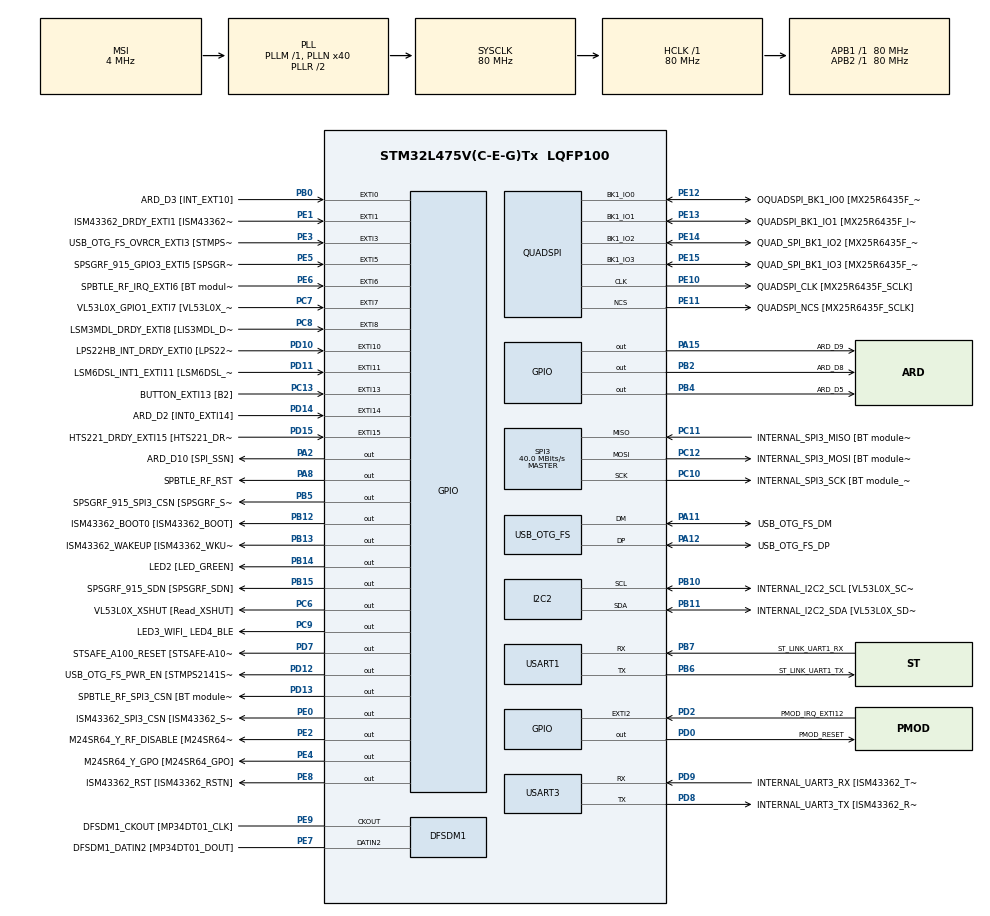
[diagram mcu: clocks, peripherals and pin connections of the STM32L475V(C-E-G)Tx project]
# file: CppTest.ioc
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Mcu.Family=STM32L4
Mcu.Name=STM32L475V(C-E-G)Tx
Mcu.Package=LQFP100
NVIC.EXTI15_10_IRQn=true\:0\:0\:false\:false\:true\:true\:true\:true
NVIC.EXTI9_5_IRQn=true\:0\:0\:false\:false\:true\:true\:true\:true
NVIC.PriorityGroup=NVIC_PRIORITYGROUP_4
PA0.GPIO_Label=ARD_D1 [UART4_TX]
PA0.Signal=UART4_TX
PA1.GPIO_Label=ARD_D0 [UART4_RX]
PA1.Signal=UART4_RX
PA10.GPIO_Label=USB_OTG_FS_ID
PA10.Signal=USB_OTG_FS_ID
PA11.GPIO_Label=USB_OTG_FS_DM
PA11.Mode=Device_Only
PA11.Signal=USB_OTG_FS_DM
PA12.GPIO_Label=USB_OTG_FS_DP
PA12.Mode=Device_Only
PA12.Signal=USB_OTG_FS_DP
PA13\ (JTMS-SWDIO).GPIO_Label=SYS_JTMS_SWDIO
PA13\ (JTMS-SWDIO).Mode=Serial_Wire
PA13\ (JTMS-SWDIO).Signal=SYS_JTMS-SWDIO
PA14\ (JTCK-SWCLK).GPIO_Label=SYS_JTCK_SWCLK
PA14\ (JTCK-SWCLK).Mode=Serial_Wire
PA14\ (JTCK-SWCLK).Signal=SYS_JTCK-SWCLK
PA15\ (JTDI).GPIO_Label=ARD_D9
PA15\ (JTDI).Signal=GPIO_Output
PA2.GPIO_Label=ARD_D10 [SPI_SSN]
PA2.Signal=GPIO_Output
PA3.GPIO_Label=ARD_D4
PA3.Signal=S_TIM2_CH4
PA4.GPIO_Label=ARD_D7
PA4.Signal=ADCx_IN9
PA5.GPIO_Label=ARD_D13 [SPI1_SCK]
PA5.Signal=SPI1_SCK
PA6.GPIO_Label=ARD_D12 [SPI1_MISO]
PA6.Signal=SPI1_MISO
PA7.GPIO_Label=ARD_D11 [SPI1_MOSI]
PA7.Signal=SPI1_MOSI
PA8.GPIO_Label=SPBTLE_RF_RST
PA8.Signal=GPIO_Output
PA9.GPIO_Label=USB_OTG_FS_VBUS [STMPS2141STR_OUT]
PA9.Signal=USB_OTG_FS_VBUS
PB0.GPIO_Label=ARD_D3 [INT_EXT10]
PB0.Signal=GPXTI0
PB1.GPIO_Label=ARD_D6 [ADC1_IN6]
PB1.Signal=ADCx_IN16
PB10.GPIO_Label=INTERNAL_I2C2_SCL [VL53L0X_SCL]
PB10.GPIO_Pu=GPIO_PULLUP
PB10.Mode=I2C
PB10.Signal=I2C2_SCL
PB11.GPIO_Label=INTERNAL_I2C2_SDA [VL53L0X_SDA]
PB11.GPIO_Pu=GPIO_PULLUP
PB11.Mode=I2C
PB11.Signal=I2C2_SDA
PB12.GPIO_Label=ISM43362_BOOT0 [ISM43362_BOOT]
PB12.Signal=GPIO_Output
PB13.GPIO_Label=ISM43362_WAKEUP [ISM43362_WKUP]
PB13.Signal=GPIO_Output
PB14.GPIO_Label=LED2 [LED_GREEN]
PB14.Signal=GPIO_Output
PB15.GPIO_Label=SPSGRF_915_SDN [SPSGRF_SDN]
PB15.Signal=GPIO_Output
PB2.GPIO_Label=ARD_D8
PB2.Signal=GPIO_Output
PB3\ (JTDO-TRACESWO).GPIO_Label=SYS_JTD0_SWO
PB3\ (JTDO-TRACESWO).Signal=SYS_JTDO-SWO
PB4\ (NJTRST).GPIO_Label=ARD_D5
PB4\ (NJTRST).Signal=GPIO_Output
PB5.GPIO_Label=SPSGRF_915_SPI3_CSN [SPSGRF_SPI_CS]
PB5.PinState=GPIO_PIN_SET
PB5.Signal=GPIO_Output
PB6.GPIO_Label=ST_LINK_UART1_TX
PB6.Mode=Asynchronous
PB6.Signal=USART1_TX
PB7.GPIO_Label=ST_LINK_UART1_RX
PB7.Mode=Asynchronous
PB7.Signal=USART1_RX
PB8.GPIO_Label=ARD_D15 [I2C1_SCL]
PB8.Signal=I2C1_SCL
PB9.GPIO_Label=ARD_D14 [I2C1_SDA]
PB9.Signal=I2C1_SDA
PC0.GPIO_Label=ARD_A5 [ADC]
PC0.Signal=ADCx_IN1
PC1.GPIO_Label=ARD_A4 [ADC]
PC1.Signal=ADCx_IN2
PC10.GPIO_Label=INTERNAL_SPI3_SCK [BT module_SPI_SCLK] [ISM43362_SCK]
PC10.Mode=Full_Duplex_Master
PC10.Signal=SPI3_SCK
PC11.GPIO_Label=INTERNAL_SPI3_MISO [BT module_SPI_MISO] [ISM43362_MISO]
PC11.Mode=Full_Duplex_Master
PC11.Signal=SPI3_MISO
PC12.GPIO_Label=INTERNAL_SPI3_MOSI [BT module_SPI_MOSI] [ISM43362_MOSI]
PC12.Mode=Full_Duplex_Master
PC12.Signal=SPI3_MOSI
PC13.GPIO_Label=BUTTON_EXTI13 [B2]
PC13.GPIO_ModeDefaultEXTI=GPIO_MODE_IT_FALLING
PC13.Signal=GPXTI13
PC14-OSC32_IN\ (PC14).Mode=LSE-External-Oscillator
PC14-OSC32_IN\ (PC14).Signal=RCC_OSC32_IN
PC15-OSC32_OUT\ (PC15).Mode=LSE-External-Oscillator
PC15-OSC32_OUT\ (PC15).Signal=RCC_OSC32_OUT
PC2.GPIO_Label=ARD_A3 [ADC]
PC2.Signal=ADCx_IN3
PC3.GPIO_Label=ARD_A2 [ADC]
PC3.Signal=ADCx_IN4
PC4.GPIO_Label=ARD_A1 [ADC]
PC4.Signal=ADCx_IN13
PC5.GPIO_Label=ARD_A0 [ADC]
PC5.Signal=ADCx_IN14
PC6.GPIO_Label=VL53L0X_XSHUT [Read_XSHUT]
PC6.Signal=GPIO_Output
PC7.GPIO_Label=VL53L0X_GPIO1_EXTI7 [VL53L0X_GPIO1]
PC7.Signal=GPXTI7
PC8.GPIO_Label=LSM3MDL_DRDY_EXTI8 [LIS3MDL_DRDY]
PC8.Signal=GPXTI8
PC9.GPIO_Label=LED3_WIFI_ LED4_BLE
PC9.Signal=GPIO_Output
PD0.GPIO_Label=PMOD_RESET
PD0.Signal=GPIO_Output
PD1.GPIO_Label=PMOD_SPI2_SCK
PD1.Signal=SPI2_SCK
PD10.GPIO_Label=LPS22HB_INT_DRDY_EXTI0 [LPS22HB_INT_DRDY] 
PD10.Signal=GPXTI10
PD11.GPIO_Label=LSM6DSL_INT1_EXTI11 [LSM6DSL_INT1]
PD11.Signal=GPXTI11
PD12.GPIO_Label=USB_OTG_FS_PWR_EN [STMPS2141STR_EN]
PD12.Signal=GPIO_Output
PD13.GPIO_Label=SPBTLE_RF_SPI3_CSN [BT module_SPI_CS]
PD13.PinState=GPIO_PIN_SET
PD13.Signal=GPIO_Output
PD14.GPIO_Label=ARD_D2 [INT0_EXTI14]
PD14.Signal=GPXTI14
PD15.GPIO_Label=HTS221_DRDY_EXTI15 [HTS221_DRDY]
PD15.Signal=GPXTI15
PD2.GPIO_Label=PMOD_IRQ_EXTI12
PD2.Signal=GPXTI2
PD3.GPIO_Label=PMOD_UART2_CTS
PD3.Signal=USART2_CTS
PD4.GPIO_Label=PMOD_UART2_RTS
PD4.Signal=USART2_RTS
PD5.GPIO_Label=PMOD_UART2_TX
PD5.Signal=USART2_TX
PD6.GPIO_Label=PMOD_UART2_RX
PD6.Signal=USART2_RX
PD7.GPIO_Label=STSAFE_A100_RESET [STSAFE-A100_RESET]
PD7.Signal=GPIO_Output
PD8.GPIO_Label=INTERNAL_UART3_TX [ISM43362_RX]
PD8.Mode=Asynchronous
PD8.Signal=USART3_TX
PD9.GPIO_Label=INTERNAL_UART3_RX [ISM43362_TX]
PD9.Mode=Asynchronous
PD9.Signal=USART3_RX
PE0.GPIO_Label=ISM43362_SPI3_CSN [ISM43362_SSN]
PE0.PinState=GPIO_PIN_SET
PE0.Signal=GPIO_Output
PE1.GPIO_Label=ISM43362_DRDY_EXTI1 [ISM43362_DATARDY]
PE1.Signal=GPXTI1
PE10.GPIO_Label=QUADSPI_CLK [MX25R6435F_SCLK]
PE10.Mode=Single Bank
PE10.Signal=QUADSPI_CLK
PE11.GPIO_Label=QUADSPI_NCS [MX25R6435F_SCLK]
PE11.Mode=Single Bank
PE11.Signal=QUADSPI_NCS
PE12.GPIO_Label=OQUADSPI_BK1_IO0 [MX25R6435F_IO0]
PE12.Mode=Single Bank
PE12.Signal=QUADSPI_BK1_IO0
PE13.GPIO_Label=QUADSPI_BK1_IO1 [MX25R6435F_IO1]
PE13.Mode=Single Bank
PE13.Signal=QUADSPI_BK1_IO1
PE14.GPIO_Label=QUAD_SPI_BK1_IO2 [MX25R6435F_IO2]
PE14.Mode=Single Bank
PE14.Signal=QUADSPI_BK1_IO2
PE15.GPIO_Label=QUAD_SPI_BK1_IO3 [MX25R6435F_IO3]
PE15.Mode=Single Bank
PE15.Signal=QUADSPI_BK1_IO3
PE2.GPIO_Label=M24SR64_Y_RF_DISABLE [M24SR64_RFDIS]
PE2.Signal=GPIO_Output
PE3.GPIO_Label=USB_OTG_FS_OVRCR_EXTI3 [STMPS2141STR_FAULT]
PE3.Signal=GPXTI3
PE4.GPIO_Label=M24SR64_Y_GPO [M24SR64_GPO]
PE4.Signal=GPIO_Output
PE5.GPIO_Label=SPSGRF_915_GPIO3_EXTI5 [SPSGRF_GPIO_3]
PE5.Signal=GPXTI5
PE6.GPIO_Label=SPBTLE_RF_IRQ_EXTI6 [BT module_SPI_IRQ]
PE6.Signal=GPXTI6
PE7.GPIO_Label=DFSDM1_DATIN2 [MP34DT01_DOUT]
PE7.Signal=S_DATAIN2DFSDM1
PE8.GPIO_Label=ISM43362_RST [ISM43362_RSTN]
PE8.Signal=GPIO_Output
PE9.GPIO_Label=DFSDM1_CKOUT [MP34DT01_CLK]
PE9.Signal=S_CKOUTDFSDM1
ProjectManager.HeapSize=0x200
ProjectManager.StackSize=0x400
ProjectManager.TargetToolchain=STM32CubeIDE
QUADSPI.ClockPrescaler=2
QUADSPI.FifoThreshold=4
QUADSPI.FlashSize=23
QUADSPI.SampleShifting=QSPI_SAMPLE_SHIFTING_HALFCYCLE
RCC.ADCFreq_Value=48000000
RCC.AHBFreq_Value=80000000
RCC.APB1Freq_Value=80000000
RCC.APB1TimFreq_Value=80000000
RCC.APB2Freq_Value=80000000
RCC.APB2TimFreq_Value=80000000
RCC.CortexFreq_Value=80000000
RCC.HCLKFreq_Value=80000000
RCC.HSE_VALUE=8000000
RCC.HSI_VALUE=16000000
RCC.MSI_VALUE=4000000
RCC.PLLN=40
RCC.PLLSAI1N=24
RCC.SYSCLKFreq_VALUE=80000000
RCC.SYSCLKSource=RCC_SYSCLKSOURCE_PLLCLK
RCC.USBFreq_Value=48000000
RCC.VCOOutputFreq_Value=160000000
SH.ADCx_IN1.0=ADC1_IN1
SH.ADCx_IN13.0=ADC1_IN13
SH.ADCx_IN14.0=ADC1_IN14
SH.ADCx_IN16.0=ADC1_IN16
SH.ADCx_IN2.0=ADC1_IN2
SH.ADCx_IN3.0=ADC1_IN3
SH.ADCx_IN4.0=ADC1_IN4
SH.ADCx_IN9.0=ADC1_IN9
SH.S_CKOUTDFSDM1.0=DFSDM1_CKOUT,CKOUT
SH.S_CKOUTDFSDM1.1=DFSDM1_CKOUT,PDM_SPI_Input_from_ch12_and_Internal_Clock
SH.S_DATAIN2DFSDM1.0=DFSDM1_DATIN2,PDM_SPI_Input_from_ch12_and_Internal_Clock
SH.S_TIM2_CH4.0=TIM2_CH4
SPI3.CalculateBaudRate=40.0 MBits/s
SPI3.Direction=SPI_DIRECTION_2LINES
SPI3.Mode=SPI_MODE_MASTER
SPI3.VirtualType=VM_MASTER
USART1.VirtualMode-Asynchronous=VM_ASYNC
USART3.VirtualMode-Asynchronous=VM_ASYNC
USB_OTG_FS.VirtualMode=Device_Only
board=B-L475E-IOT01A1

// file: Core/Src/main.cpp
/* USER CODE BEGIN Header */
/**
  ******************************************************************************
  * @file           : main.c
  * @brief          : Main program body
  ******************************************************************************
  * @attention
  *
  * Copyright (c) 2023 STMicroelectronics.
  * All rights reserved.
  *
  * This software is licensed under terms that can be found in the LICENSE file
  * in the root directory of this software component.
  * If no LICENSE file comes with this software, it is provided AS-IS.
  *
  ******************************************************************************
  */
/* USER CODE END Header */
#include "main.h"
#include <cstdio>

DFSDM_Channel_HandleTypeDef hdfsdm1_channel1;

I2C_HandleTypeDef hi2c2;

QSPI_HandleTypeDef hqspi;

SPI_HandleTypeDef hspi3;

UART_HandleTypeDef huart1;
UART_HandleTypeDef huart3;

PCD_HandleTypeDef hpcd_USB_OTG_FS;

void SystemClock_Config(void);
static void MX_GPIO_Init(void);
static void MX_DFSDM1_Init(void);
static void MX_I2C2_Init(void);
static void MX_QUADSPI_Init(void);
static void MX_SPI3_Init(void);
static void MX_USART1_UART_Init(void);
static void MX_USART3_UART_Init(void);
static void MX_USB_OTG_FS_PCD_Init(void);

/* USER CODE BEGIN 0 */
using namespace std;

struct TestCPP
{
    TestCPP() : Counter(0) {}
    TestCPP(uint8_t Value) :
	Counter(Value){}

    void Increment(void)
    {
        Counter++;
    }

    uint8_t Get(void)
    {
        return Counter;
    }

private:
    uint8_t Counter;
};

/* USER CODE END 0 */

int main(void)
{

  /* MCU Configuration--------------------------------------------------------*/

  /* Reset of all peripherals, Initializes the Flash interface and the Systick. */
  HAL_Init();

  /* Configure the system clock */
  SystemClock_Config();

  /* Initialize all configured peripherals */
  MX_GPIO_Init();
  MX_DFSDM1_Init();
  MX_I2C2_Init();
  MX_QUADSPI_Init();
  MX_SPI3_Init();
  MX_USART1_UART_Init();
  MX_USART3_UART_Init();
  MX_USB_OTG_FS_PCD_Init();
  /* USER CODE BEGIN 2 */
  TestCPP TestObj(3);

  /* USER CODE END 2 */

  /* Infinite loop */
  /* USER CODE BEGIN WHILE */
  while (1)
  {

	  TestObj.Increment();

	     if(TestObj.Get() > 100)
	     {
	         printf("The value is greater than 100!\r\n");

	         while(true);
	     }
    /* USER CODE END WHILE */

  }
}

void SystemClock_Config(void)
{
  RCC_OscInitTypeDef RCC_OscInitStruct = {0};
  RCC_ClkInitTypeDef RCC_ClkInitStruct = {0};

  /** Configure the main internal regulator output voltage
  */
  if (HAL_PWREx_ControlVoltageScaling(PWR_REGULATOR_VOLTAGE_SCALE1) != HAL_OK)
  {
    Error_Handler();
  }

  /** Configure LSE Drive Capability
  */
  HAL_PWR_EnableBkUpAccess();
  __HAL_RCC_LSEDRIVE_CONFIG(RCC_LSEDRIVE_LOW);

  /** Initializes the RCC Oscillators according to the specified parameters
  * in the RCC_OscInitTypeDef structure.
  */
  RCC_OscInitStruct.OscillatorType = RCC_OSCILLATORTYPE_LSE|RCC_OSCILLATORTYPE_MSI;
  RCC_OscInitStruct.LSEState = RCC_LSE_ON;
  RCC_OscInitStruct.MSIState = RCC_MSI_ON;
  RCC_OscInitStruct.MSICalibrationValue = 0;
  RCC_OscInitStruct.MSIClockRange = RCC_MSIRANGE_6;
  RCC_OscInitStruct.PLL.PLLState = RCC_PLL_ON;
  RCC_OscInitStruct.PLL.PLLSource = RCC_PLLSOURCE_MSI;
  RCC_OscInitStruct.PLL.PLLM = 1;
  RCC_OscInitStruct.PLL.PLLN = 40;
  RCC_OscInitStruct.PLL.PLLP = RCC_PLLP_DIV7;
  RCC_OscInitStruct.PLL.PLLQ = RCC_PLLQ_DIV2;
  RCC_OscInitStruct.PLL.PLLR = RCC_PLLR_DIV2;
  if (HAL_RCC_OscConfig(&RCC_OscInitStruct) != HAL_OK)
  {
    Error_Handler();
  }

  /** Initializes the CPU, AHB and APB buses clocks
  */
  RCC_ClkInitStruct.ClockType = RCC_CLOCKTYPE_HCLK|RCC_CLOCKTYPE_SYSCLK
                              |RCC_CLOCKTYPE_PCLK1|RCC_CLOCKTYPE_PCLK2;
  RCC_ClkInitStruct.SYSCLKSource = RCC_SYSCLKSOURCE_PLLCLK;
  RCC_ClkInitStruct.AHBCLKDivider = RCC_SYSCLK_DIV1;
  RCC_ClkInitStruct.APB1CLKDivider = RCC_HCLK_DIV1;
  RCC_ClkInitStruct.APB2CLKDivider = RCC_HCLK_DIV1;

  if (HAL_RCC_ClockConfig(&RCC_ClkInitStruct, FLASH_LATENCY_4) != HAL_OK)
  {
    Error_Handler();
  }

  /** Enable MSI Auto calibration
  */
  HAL_RCCEx_EnableMSIPLLMode();
}

static void MX_DFSDM1_Init(void)
{

  hdfsdm1_channel1.Instance = DFSDM1_Channel1;
  hdfsdm1_channel1.Init.OutputClock.Activation = ENABLE;
  hdfsdm1_channel1.Init.OutputClock.Selection = DFSDM_CHANNEL_OUTPUT_CLOCK_SYSTEM;
  hdfsdm1_channel1.Init.OutputClock.Divider = 2;
  hdfsdm1_channel1.Init.Input.Multiplexer = DFSDM_CHANNEL_EXTERNAL_INPUTS;
  hdfsdm1_channel1.Init.Input.DataPacking = DFSDM_CHANNEL_STANDARD_MODE;
  hdfsdm1_channel1.Init.Input.Pins = DFSDM_CHANNEL_FOLLOWING_CHANNEL_PINS;
  hdfsdm1_channel1.Init.SerialInterface.Type = DFSDM_CHANNEL_SPI_RISING;
  hdfsdm1_channel1.Init.SerialInterface.SpiClock = DFSDM_CHANNEL_SPI_CLOCK_INTERNAL;
  hdfsdm1_channel1.Init.Awd.FilterOrder = DFSDM_CHANNEL_FASTSINC_ORDER;
  hdfsdm1_channel1.Init.Awd.Oversampling = 1;
  hdfsdm1_channel1.Init.Offset = 0;
  hdfsdm1_channel1.Init.RightBitShift = 0x00;
  if (HAL_DFSDM_ChannelInit(&hdfsdm1_channel1) != HAL_OK)
  {
    Error_Handler();
  }

}

static void MX_I2C2_Init(void)
{

  hi2c2.Instance = I2C2;
  hi2c2.Init.Timing = 0x00000E14;
  hi2c2.Init.OwnAddress1 = 0;
  hi2c2.Init.AddressingMode = I2C_ADDRESSINGMODE_7BIT;
  hi2c2.Init.DualAddressMode = I2C_DUALADDRESS_DISABLE;
  hi2c2.Init.OwnAddress2 = 0;
  hi2c2.Init.OwnAddress2Masks = I2C_OA2_NOMASK;
  hi2c2.Init.GeneralCallMode = I2C_GENERALCALL_DISABLE;
  hi2c2.Init.NoStretchMode = I2C_NOSTRETCH_DISABLE;
  if (HAL_I2C_Init(&hi2c2) != HAL_OK)
  {
    Error_Handler();
  }

  /** Configure Analogue filter
  */
  if (HAL_I2CEx_ConfigAnalogFilter(&hi2c2, I2C_ANALOGFILTER_ENABLE) != HAL_OK)
  {
    Error_Handler();
  }

  /** Configure Digital filter
  */
  if (HAL_I2CEx_ConfigDigitalFilter(&hi2c2, 0) != HAL_OK)
  {
    Error_Handler();
  }

}

static void MX_QUADSPI_Init(void)
{

  /* QUADSPI parameter configuration*/
  hqspi.Instance = QUADSPI;
  hqspi.Init.ClockPrescaler = 2;
  hqspi.Init.FifoThreshold = 4;
  hqspi.Init.SampleShifting = QSPI_SAMPLE_SHIFTING_HALFCYCLE;
  hqspi.Init.FlashSize = 23;
  hqspi.Init.ChipSelectHighTime = QSPI_CS_HIGH_TIME_1_CYCLE;
  hqspi.Init.ClockMode = QSPI_CLOCK_MODE_0;
  if (HAL_QSPI_Init(&hqspi) != HAL_OK)
  {
    Error_Handler();
  }

}

static void MX_SPI3_Init(void)
{

  /* SPI3 parameter configuration*/
  hspi3.Instance = SPI3;
  hspi3.Init.Mode = SPI_MODE_MASTER;
  hspi3.Init.Direction = SPI_DIRECTION_2LINES;
  hspi3.Init.DataSize = SPI_DATASIZE_4BIT;
  hspi3.Init.CLKPolarity = SPI_POLARITY_LOW;
  hspi3.Init.CLKPhase = SPI_PHASE_1EDGE;
  hspi3.Init.NSS = SPI_NSS_SOFT;
  hspi3.Init.BaudRatePrescaler = SPI_BAUDRATEPRESCALER_2;
  hspi3.Init.FirstBit = SPI_FIRSTBIT_MSB;
  hspi3.Init.TIMode = SPI_TIMODE_DISABLE;
  hspi3.Init.CRCCalculation = SPI_CRCCALCULATION_DISABLE;
  hspi3.Init.CRCPolynomial = 7;
  hspi3.Init.CRCLength = SPI_CRC_LENGTH_DATASIZE;
  hspi3.Init.NSSPMode = SPI_NSS_PULSE_ENABLE;
  if (HAL_SPI_Init(&hspi3) != HAL_OK)
  {
    Error_Handler();
  }

}

static void MX_USART1_UART_Init(void)
{

  huart1.Instance = USART1;
  huart1.Init.BaudRate = 115200;
  huart1.Init.WordLength = UART_WORDLENGTH_8B;
  huart1.Init.StopBits = UART_STOPBITS_1;
  huart1.Init.Parity = UART_PARITY_NONE;
  huart1.Init.Mode = UART_MODE_TX_RX;
  huart1.Init.HwFlowCtl = UART_HWCONTROL_NONE;
  huart1.Init.OverSampling = UART_OVERSAMPLING_16;
  huart1.Init.OneBitSampling = UART_ONE_BIT_SAMPLE_DISABLE;
  huart1.AdvancedInit.AdvFeatureInit = UART_ADVFEATURE_NO_INIT;
  if (HAL_UART_Init(&huart1) != HAL_OK)
  {
    Error_Handler();
  }

}

static void MX_USART3_UART_Init(void)
{

  huart3.Instance = USART3;
  huart3.Init.BaudRate = 115200;
  huart3.Init.WordLength = UART_WORDLENGTH_8B;
  huart3.Init.StopBits = UART_STOPBITS_1;
  huart3.Init.Parity = UART_PARITY_NONE;
  huart3.Init.Mode = UART_MODE_TX_RX;
  huart3.Init.HwFlowCtl = UART_HWCONTROL_NONE;
  huart3.Init.OverSampling = UART_OVERSAMPLING_16;
  huart3.Init.OneBitSampling = UART_ONE_BIT_SAMPLE_DISABLE;
  huart3.AdvancedInit.AdvFeatureInit = UART_ADVFEATURE_NO_INIT;
  if (HAL_UART_Init(&huart3) != HAL_OK)
  {
    Error_Handler();
  }

}

static void MX_USB_OTG_FS_PCD_Init(void)
{

  hpcd_USB_OTG_FS.Instance = USB_OTG_FS;
  hpcd_USB_OTG_FS.Init.dev_endpoints = 6;
  hpcd_USB_OTG_FS.Init.speed = PCD_SPEED_FULL;
  hpcd_USB_OTG_FS.Init.phy_itface = PCD_PHY_EMBEDDED;
  hpcd_USB_OTG_FS.Init.Sof_enable = DISABLE;
  hpcd_USB_OTG_FS.Init.low_power_enable = DISABLE;
  hpcd_USB_OTG_FS.Init.lpm_enable = DISABLE;
  hpcd_USB_OTG_FS.Init.battery_charging_enable = DISABLE;
  hpcd_USB_OTG_FS.Init.use_dedicated_ep1 = DISABLE;
  hpcd_USB_OTG_FS.Init.vbus_sensing_enable = DISABLE;
  if (HAL_PCD_Init(&hpcd_USB_OTG_FS) != HAL_OK)
  {
    Error_Handler();
  }

}

static void MX_GPIO_Init(void)
{
  GPIO_InitTypeDef GPIO_InitStruct = {0};

  /* GPIO Ports Clock Enable */
  __HAL_RCC_GPIOE_CLK_ENABLE();
  __HAL_RCC_GPIOC_CLK_ENABLE();
  __HAL_RCC_GPIOA_CLK_ENABLE();
  __HAL_RCC_GPIOB_CLK_ENABLE();
  __HAL_RCC_GPIOD_CLK_ENABLE();

  /*Configure GPIO pin Output Level */
  HAL_GPIO_WritePin(GPIOE, M24SR64_Y_RF_DISABLE_Pin|M24SR64_Y_GPO_Pin|ISM43362_RST_Pin, GPIO_PIN_RESET);

  /*Configure GPIO pin Output Level */
  HAL_GPIO_WritePin(GPIOA, ARD_D10_Pin|SPBTLE_RF_RST_Pin|ARD_D9_Pin, GPIO_PIN_RESET);

  /*Configure GPIO pin Output Level */
  HAL_GPIO_WritePin(GPIOB, ARD_D8_Pin|ISM43362_BOOT0_Pin|ISM43362_WAKEUP_Pin|LED2_Pin
                          |SPSGRF_915_SDN_Pin|ARD_D5_Pin, GPIO_PIN_RESET);

  /*Configure GPIO pin Output Level */
  HAL_GPIO_WritePin(GPIOD, USB_OTG_FS_PWR_EN_Pin|PMOD_RESET_Pin|STSAFE_A100_RESET_Pin, GPIO_PIN_RESET);

  /*Configure GPIO pin Output Level */
  HAL_GPIO_WritePin(SPBTLE_RF_SPI3_CSN_GPIO_Port, SPBTLE_RF_SPI3_CSN_Pin, GPIO_PIN_SET);

  /*Configure GPIO pin Output Level */
  HAL_GPIO_WritePin(GPIOC, VL53L0X_XSHUT_Pin|LED3_WIFI__LED4_BLE_Pin, GPIO_PIN_RESET);

  /*Configure GPIO pin Output Level */
  HAL_GPIO_WritePin(SPSGRF_915_SPI3_CSN_GPIO_Port, SPSGRF_915_SPI3_CSN_Pin, GPIO_PIN_SET);

  /*Configure GPIO pin Output Level */
  HAL_GPIO_WritePin(ISM43362_SPI3_CSN_GPIO_Port, ISM43362_SPI3_CSN_Pin, GPIO_PIN_SET);

  /*Configure GPIO pins : M24SR64_Y_RF_DISABLE_Pin M24SR64_Y_GPO_Pin ISM43362_RST_Pin ISM43362_SPI3_CSN_Pin */
  GPIO_InitStruct.Pin = M24SR64_Y_RF_DISABLE_Pin|M24SR64_Y_GPO_Pin|ISM43362_RST_Pin|ISM43362_SPI3_CSN_Pin;
  GPIO_InitStruct.Mode = GPIO_MODE_OUTPUT_PP;
  GPIO_InitStruct.Pull = GPIO_NOPULL;
  GPIO_InitStruct.Speed = GPIO_SPEED_FREQ_LOW;
  HAL_GPIO_Init(GPIOE, &GPIO_InitStruct);

  /*Configure GPIO pins : USB_OTG_FS_OVRCR_EXTI3_Pin SPSGRF_915_GPIO3_EXTI5_Pin SPBTLE_RF_IRQ_EXTI6_Pin ISM43362_DRDY_EXTI1_Pin */
  GPIO_InitStruct.Pin = USB_OTG_FS_OVRCR_EXTI3_Pin|SPSGRF_915_GPIO3_EXTI5_Pin|SPBTLE_RF_IRQ_EXTI6_Pin|ISM43362_DRDY_EXTI1_Pin;
  GPIO_InitStruct.Mode = GPIO_MODE_IT_RISING;
  GPIO_InitStruct.Pull = GPIO_NOPULL;
  HAL_GPIO_Init(GPIOE, &GPIO_InitStruct);

  /*Configure GPIO pin : BUTTON_EXTI13_Pin */
  GPIO_InitStruct.Pin = BUTTON_EXTI13_Pin;
  GPIO_InitStruct.Mode = GPIO_MODE_IT_FALLING;
  GPIO_InitStruct.Pull = GPIO_NOPULL;
  HAL_GPIO_Init(BUTTON_EXTI13_GPIO_Port, &GPIO_InitStruct);

  /*Configure GPIO pins : ARD_A5_Pin ARD_A4_Pin ARD_A3_Pin ARD_A2_Pin
                           ARD_A1_Pin ARD_A0_Pin */
  GPIO_InitStruct.Pin = ARD_A5_Pin|ARD_A4_Pin|ARD_A3_Pin|ARD_A2_Pin
                          |ARD_A1_Pin|ARD_A0_Pin;
  GPIO_InitStruct.Mode = GPIO_MODE_ANALOG_ADC_CONTROL;
  GPIO_InitStruct.Pull = GPIO_NOPULL;
  HAL_GPIO_Init(GPIOC, &GPIO_InitStruct);

  /*Configure GPIO pins : ARD_D1_Pin ARD_D0_Pin */
  GPIO_InitStruct.Pin = ARD_D1_Pin|ARD_D0_Pin;
  GPIO_InitStruct.Mode = GPIO_MODE_AF_PP;
  GPIO_InitStruct.Pull = GPIO_NOPULL;
  GPIO_InitStruct.Speed = GPIO_SPEED_FREQ_VERY_HIGH;
  GPIO_InitStruct.Alternate = GPIO_AF8_UART4;
  HAL_GPIO_Init(GPIOA, &GPIO_InitStruct);

  /*Configure GPIO pins : ARD_D10_Pin SPBTLE_RF_RST_Pin ARD_D9_Pin */
  GPIO_InitStruct.Pin = ARD_D10_Pin|SPBTLE_RF_RST_Pin|ARD_D9_Pin;
  GPIO_InitStruct.Mode = GPIO_MODE_OUTPUT_PP;
  GPIO_InitStruct.Pull = GPIO_NOPULL;
  GPIO_InitStruct.Speed = GPIO_SPEED_FREQ_LOW;
  HAL_GPIO_Init(GPIOA, &GPIO_InitStruct);

  /*Configure GPIO pin : ARD_D4_Pin */
  GPIO_InitStruct.Pin = ARD_D4_Pin;
  GPIO_InitStruct.Mode = GPIO_MODE_AF_PP;
  GPIO_InitStruct.Pull = GPIO_NOPULL;
  GPIO_InitStruct.Speed = GPIO_SPEED_FREQ_LOW;
  GPIO_InitStruct.Alternate = GPIO_AF1_TIM2;
  HAL_GPIO_Init(ARD_D4_GPIO_Port, &GPIO_InitStruct);

  /*Configure GPIO pin : ARD_D7_Pin */
  GPIO_InitStruct.Pin = ARD_D7_Pin;
  GPIO_InitStruct.Mode = GPIO_MODE_ANALOG_ADC_CONTROL;
  GPIO_InitStruct.Pull = GPIO_NOPULL;
  HAL_GPIO_Init(ARD_D7_GPIO_Port, &GPIO_InitStruct);

  /*Configure GPIO pins : ARD_D13_Pin ARD_D12_Pin ARD_D11_Pin */
  GPIO_InitStruct.Pin = ARD_D13_Pin|ARD_D12_Pin|ARD_D11_Pin;
  GPIO_InitStruct.Mode = GPIO_MODE_AF_PP;
  GPIO_InitStruct.Pull = GPIO_NOPULL;
  GPIO_InitStruct.Speed = GPIO_SPEED_FREQ_VERY_HIGH;
  GPIO_InitStruct.Alternate = GPIO_AF5_SPI1;
  HAL_GPIO_Init(GPIOA, &GPIO_InitStruct);

  /*Configure GPIO pin : ARD_D3_Pin */
  GPIO_InitStruct.Pin = ARD_D3_Pin;
  GPIO_InitStruct.Mode = GPIO_MODE_IT_RISING;
  GPIO_InitStruct.Pull = GPIO_NOPULL;
  HAL_GPIO_Init(ARD_D3_GPIO_Port, &GPIO_InitStruct);

  /*Configure GPIO pin : ARD_D6_Pin */
  GPIO_InitStruct.Pin = ARD_D6_Pin;
  GPIO_InitStruct.Mode = GPIO_MODE_ANALOG_ADC_CONTROL;
  GPIO_InitStruct.Pull = GPIO_NOPULL;
  HAL_GPIO_Init(ARD_D6_GPIO_Port, &GPIO_InitStruct);

  /*Configure GPIO pins : ARD_D8_Pin ISM43362_BOOT0_Pin ISM43362_WAKEUP_Pin LED2_Pin
                           SPSGRF_915_SDN_Pin ARD_D5_Pin SPSGRF_915_SPI3_CSN_Pin */
  GPIO_InitStruct.Pin = ARD_D8_Pin|ISM43362_BOOT0_Pin|ISM43362_WAKEUP_Pin|LED2_Pin
                          |SPSGRF_915_SDN_Pin|ARD_D5_Pin|SPSGRF_915_SPI3_CSN_Pin;
  GPIO_InitStruct.Mode = GPIO_MODE_OUTPUT_PP;
  GPIO_InitStruct.Pull = GPIO_NOPULL;
  GPIO_InitStruct.Speed = GPIO_SPEED_FREQ_LOW;
  HAL_GPIO_Init(GPIOB, &GPIO_InitStruct);

  /*Configure GPIO pins : LPS22HB_INT_DRDY_EXTI0_Pin LSM6DSL_INT1_EXTI11_Pin ARD_D2_Pin HTS221_DRDY_EXTI15_Pin
                           PMOD_IRQ_EXTI12_Pin */
  GPIO_InitStruct.Pin = LPS22HB_INT_DRDY_EXTI0_Pin|LSM6DSL_INT1_EXTI11_Pin|ARD_D2_Pin|HTS221_DRDY_EXTI15_Pin
                          |PMOD_IRQ_EXTI12_Pin;
  GPIO_InitStruct.Mode = GPIO_MODE_IT_RISING;
  GPIO_InitStruct.Pull = GPIO_NOPULL;
  HAL_GPIO_Init(GPIOD, &GPIO_InitStruct);

  /*Configure GPIO pins : USB_OTG_FS_PWR_EN_Pin SPBTLE_RF_SPI3_CSN_Pin PMOD_RESET_Pin STSAFE_A100_RESET_Pin */
  GPIO_InitStruct.Pin = USB_OTG_FS_PWR_EN_Pin|SPBTLE_RF_SPI3_CSN_Pin|PMOD_RESET_Pin|STSAFE_A100_RESET_Pin;
  GPIO_InitStruct.Mode = GPIO_MODE_OUTPUT_PP;
  GPIO_InitStruct.Pull = GPIO_NOPULL;
  GPIO_InitStruct.Speed = GPIO_SPEED_FREQ_LOW;
  HAL_GPIO_Init(GPIOD, &GPIO_InitStruct);

  /*Configure GPIO pins : VL53L0X_XSHUT_Pin LED3_WIFI__LED4_BLE_Pin */
  GPIO_InitStruct.Pin = VL53L0X_XSHUT_Pin|LED3_WIFI__LED4_BLE_Pin;
  GPIO_InitStruct.Mode = GPIO_MODE_OUTPUT_PP;
  GPIO_InitStruct.Pull = GPIO_NOPULL;
  GPIO_InitStruct.Speed = GPIO_SPEED_FREQ_LOW;
  HAL_GPIO_Init(GPIOC, &GPIO_InitStruct);

  /*Configure GPIO pins : VL53L0X_GPIO1_EXTI7_Pin LSM3MDL_DRDY_EXTI8_Pin */
  GPIO_InitStruct.Pin = VL53L0X_GPIO1_EXTI7_Pin|LSM3MDL_DRDY_EXTI8_Pin;
  GPIO_InitStruct.Mode = GPIO_MODE_IT_RISING;
  GPIO_InitStruct.Pull = GPIO_NOPULL;
  HAL_GPIO_Init(GPIOC, &GPIO_InitStruct);

  /*Configure GPIO pin : PMOD_SPI2_SCK_Pin */
  GPIO_InitStruct.Pin = PMOD_SPI2_SCK_Pin;
  GPIO_InitStruct.Mode = GPIO_MODE_AF_PP;
  GPIO_InitStruct.Pull = GPIO_NOPULL;
  GPIO_InitStruct.Speed = GPIO_SPEED_FREQ_VERY_HIGH;
  GPIO_InitStruct.Alternate = GPIO_AF5_SPI2;
  HAL_GPIO_Init(PMOD_SPI2_SCK_GPIO_Port, &GPIO_InitStruct);

  /*Configure GPIO pins : PMOD_UART2_CTS_Pin PMOD_UART2_RTS_Pin PMOD_UART2_TX_Pin PMOD_UART2_RX_Pin */
  GPIO_InitStruct.Pin = PMOD_UART2_CTS_Pin|PMOD_UART2_RTS_Pin|PMOD_UART2_TX_Pin|PMOD_UART2_RX_Pin;
  GPIO_InitStruct.Mode = GPIO_MODE_AF_PP;
  GPIO_InitStruct.Pull = GPIO_NOPULL;
  GPIO_InitStruct.Speed = GPIO_SPEED_FREQ_VERY_HIGH;
  GPIO_InitStruct.Alternate = GPIO_AF7_USART2;
  HAL_GPIO_Init(GPIOD, &GPIO_InitStruct);

  /*Configure GPIO pins : ARD_D15_Pin ARD_D14_Pin */
  GPIO_InitStruct.Pin = ARD_D15_Pin|ARD_D14_Pin;
  GPIO_InitStruct.Mode = GPIO_MODE_AF_OD;
  GPIO_InitStruct.Pull = GPIO_NOPULL;
  GPIO_InitStruct.Speed = GPIO_SPEED_FREQ_VERY_HIGH;
  GPIO_InitStruct.Alternate = GPIO_AF4_I2C1;
  HAL_GPIO_Init(GPIOB, &GPIO_InitStruct);

  /* EXTI interrupt init*/
  HAL_NVIC_SetPriority(EXTI9_5_IRQn, 0, 0);
  HAL_NVIC_EnableIRQ(EXTI9_5_IRQn);

  HAL_NVIC_SetPriority(EXTI15_10_IRQn, 0, 0);
  HAL_NVIC_EnableIRQ(EXTI15_10_IRQn);

}

void Error_Handler(void)
{
  __disable_irq();
  while (1)
  {
  }
}
